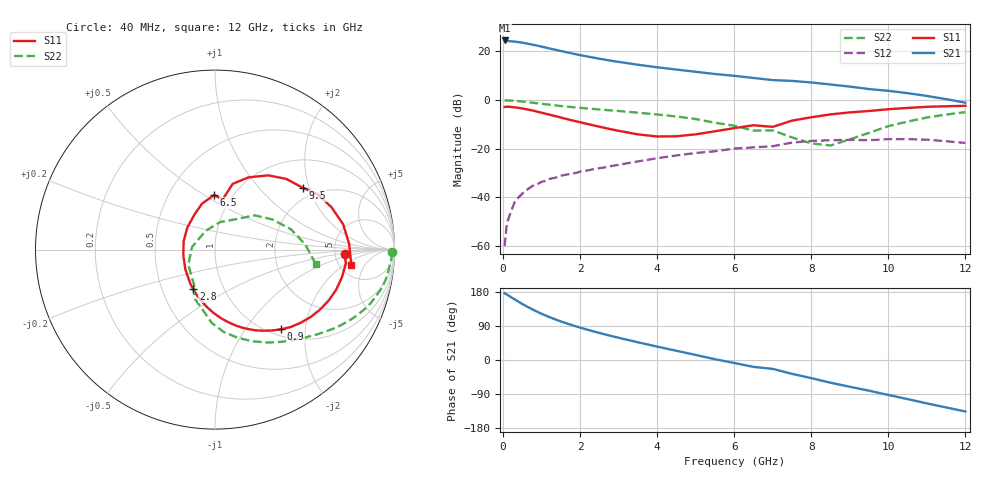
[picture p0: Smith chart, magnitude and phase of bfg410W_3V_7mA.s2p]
! Filename: 37bfg410.001
! BFG410W Field B1
! V1=8.610E-001V,V2=3.000E+000V, I1=1.010E-004A, I2=6.990E-003A
# GHz  S  MA  R 50
!  S11  S21  S12  S22
!Freq(GHz)  Mag  Ang  Mag  Ang  Mag  Ang  Mag  Ang
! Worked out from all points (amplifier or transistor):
!   44 points, 40 MHz to 12 GHz, reference 50 ohm
!   highest |S21| = 24.5 dB at 40 MHz (marker M1)
!   |S21| within 3 dB of that: start of sweep to 1.129 GHz
!   unconditionally stable (mu >= 1): 2.259 GHz to end of sweep
!   at 700 MHz: K = 0.41, MSG = 29.5 dB, |S12| = -35.9 dB
!   at 2.4 GHz: K = 1.03, MAG = 21.7 dB, |S12| = -28.2 dB
!   at 12 GHz: K = 1.54, MAG = 4.0 dB, |S12| = -17.6 dB
!   S11 on the Smith chart (normalised r, x): 40 MHz: 6.14, -0.68; 900 MHz: 1.12, -1.49; 2.8 GHz: 0.72, -0.34; 6.5 GHz: 0.82, +0.55; 9.5 GHz: 1.69, +1.81; 12 GHz: 6.43, -2.57
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0.04  0.723 -2.1  16.8 176.0  0.001 53.7  0.984 -0.9
0.1  0.733 -6.1  16.46 172.7  0.003 85.5  0.984 -3.0
0.3  0.711 -18.4  15.89 160.2  0.008 78.3  0.966 -9.9
0.4  0.694 -24.1  15.55 153.8  0.01 75.9  0.952 -13.2
0.5  0.673 -30.0  15.13 147.9  0.012 72.2  0.934 -16.1
0.7  0.627 -40.6  14.1 136.8  0.016 67.3  0.898 -21.6
0.9  0.577 -50.4  13.08 126.7  0.019 63.3  0.859 -26.4
1.2  0.504 -63.2  11.54 113.3  0.024 58.6  0.805 -32.5
1.5  0.439 -74.7  10.2 101.8  0.028 55.3  0.757 -37.6
1.8  0.383 -85.2  9.058 91.6  0.031 52.9  0.717 -42.3
2.2  0.322 -98.3  7.831 79.6  0.036 50.4  0.672 -48.4
2.8  0.252 -118.7  6.454 63.6  0.044 46.7  0.614 -57.2
3.5  0.198 -146.8  5.329 46.8  0.055 41.3  0.552 -67.8
4.5  0.181 164.7  4.237 24.3  0.073 30.5  0.461 -84.1
5.5  0.229 119.1  3.435 2.1  0.089 16.2  0.343 -101.5
6.5  0.304 90.8  2.851 -18.2  0.107 2.9  0.236 -121.1
7  0.282 81.4  2.577 -23.4  0.113 8.0  0.239 -118.1
8  0.444 65.1  2.306 -47.9  0.145 -18.0  0.129 173.5
8.5  0.509 54.4  2.092 -60.0  0.15 -30.5  0.117 116.4
9.5  0.598 35.2  1.687 -81.0  0.15 -50.5  0.213 53.6
10.5  0.691 19.9  1.388 -103.1  0.158 -71.4  0.362 27.6
12  0.764 -6.3  0.886 -135.9  0.132 -110.0  0.567 -8.2
